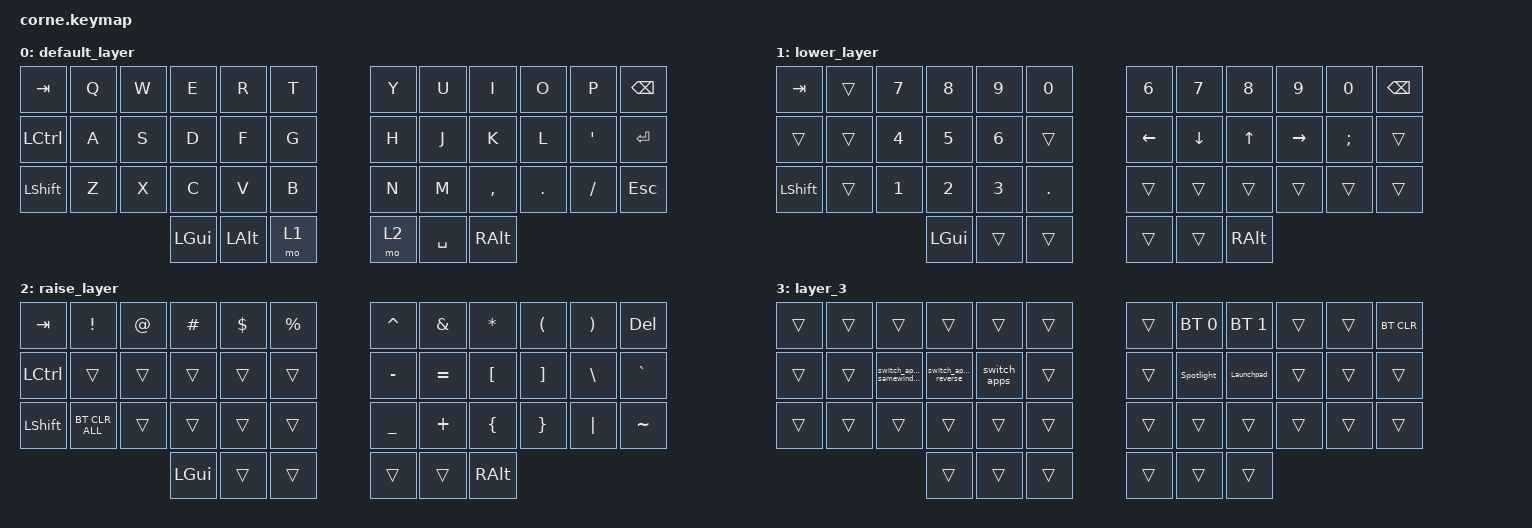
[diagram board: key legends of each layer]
/*
 * Copyright (c) 2020 The ZMK Contributors
 *
 * SPDX-License-Identifier: MIT
 */

#include <behaviors.dtsi>
#include <dt-bindings/zmk/bt.h>
#include <dt-bindings/zmk/keys.h>

/ {
    macros {
        Spotlight: Spotlight {
            compatible = "zmk,behavior-macro";
            #binding-cells = <0>;
            bindings = <&kp RG(SPACE)>;
            label = "SPOTLIGHT";
        };

        Launchpad: Launchpad {
            compatible = "zmk,behavior-macro";
            #binding-cells = <0>;
            bindings = <&kp LC(TAB)>;
            label = "LAUNCHPAD";
        };

        switch_apps: switch_apps {
            compatible = "zmk,behavior-macro";
            #binding-cells = <0>;
            bindings = <&kp RG(TAB)>;
            label = "SWITCH_APPS";
        };

        switch_apps_reverse: switch_apps_reverse {
            compatible = "zmk,behavior-macro";
            #binding-cells = <0>;
            bindings = <&kp RG(TAB)>;
            label = "SWITCH_APPS_REVERSE";
        };

        switch_apps_samewindow: switch_apps_samewindow {
            compatible = "zmk,behavior-macro";
            #binding-cells = <0>;
            bindings = <&kp RG(GRAVE)>;
            label = "SWITCH_APPS_SAMEWINDOW";
        };
    };

    keymap {
        compatible = "zmk,keymap";

        default_layer {
            // -----------------------------------------------------------------------------------------
            // |  TAB |  Q  |  W  |  E  |  R  |  T  |   |  Y  |  U   |  I  |  O  |  P  | BKSP |
            // | CTRL |  A  |  S  |  D  |  F  |  G  |   |  H  |  J   |  K  |  L  |  ;  | ENT  |
            // | SHFT |  Z  |  X  |  C  |  V  |  B  |   |  N  |  M   |  ,  |  .  |  /  | ESC  |
            //                    | GUI | SPC | LWR |   | RSE | SPC  | ALT |

            bindings = <
&kp TAB    &kp Q  &kp W  &kp E     &kp R         &kp T    &kp Y  &kp U      &kp I      &kp O    &kp P             &kp BSPC
&kp LCTRL  &kp A  &kp S  &kp D     &kp F         &kp G    &kp H  &kp J      &kp K      &kp L    &kp SINGLE_QUOTE  &kp RET
&kp LSHFT  &kp Z  &kp X  &kp C     &kp V         &kp B    &kp N  &kp M      &kp COMMA  &kp DOT  &kp FSLH          &kp ESC
                         &kp LGUI  &kp LEFT_ALT  &mo 1    &mo 2  &kp SPACE  &kp RALT
            >;
        };

        lower_layer {
            // -----------------------------------------------------------------------------------------
            // |  TAB |     |  7  |  8  |  9  |  0  |   |     |     |     |     |     | BKSP |
            // |      |     |  4  |  5  |  6  |     |   | LFT | DWN |  UP | RGT |     |      |
            // | SHFT |     |  1  |  2  |  3  |  .  |   |     |     |     |     |     |      |
            //                    | GUI |     | SPC |   | ENT |     | ALT |

            bindings = <
&kp TAB    &trans  &kp N7  &kp N8    &kp N9  &kp N0     &kp N6    &kp N7    &kp N8    &kp N9     &kp N0         &kp BSPC
&trans     &trans  &kp N4  &kp N5    &kp N6  &trans     &kp LEFT  &kp DOWN  &kp UP    &kp RIGHT  &kp SEMICOLON  &trans
&kp LSHFT  &trans  &kp N1  &kp N2    &kp N3  &kp DOT    &trans    &trans    &trans    &trans     &trans         &trans
                           &kp LGUI  &trans  &trans     &trans    &trans    &kp RALT
            >;
        };

        raise_layer {
            // -----------------------------------------------------------------------------------------
            // |  TAB |  !  |  @  |  #  |  $  |  %  |   |  ^  |  &  |  *  |  (  |  )  | BKSP |
            // | CTRL |     |     |     |     |     |   |  -  |  =  |  [  |  ]  |  \  |  `   |
            // | SHFT |BTCLRALL|     |     |     |     |   |  _  |  +  |  {  |  }  | "|" |  ~   |
            //                    | GUI |     | SPC |   | ENT |     | ALT |

            bindings = <
&kp TAB    &kp EXCL        &kp AT  &kp HASH  &kp DLLR  &kp PRCNT    &kp CARET  &kp AMPS   &kp ASTRK  &kp LPAR  &kp RPAR  &kp DELETE
&kp LCTRL  &trans          &trans  &trans    &trans    &trans       &kp MINUS  &kp EQUAL  &kp LBKT   &kp RBKT  &kp BSLH  &kp GRAVE
&kp LSHFT  &bt BT_CLR_ALL  &trans  &trans    &trans    &trans       &kp UNDER  &kp PLUS   &kp LBRC   &kp RBRC  &kp PIPE  &kp TILDE
                                   &kp LGUI  &trans    &trans       &trans     &trans     &kp RALT
            >;
        };

        layer_3 {
            bindings = <
&trans  &trans  &trans                   &trans                &trans        &trans    &trans  &bt BT_SEL 0  &bt BT_SEL 1  &trans  &trans  &bt BT_CLR
&trans  &trans  &switch_apps_samewindow  &switch_apps_reverse  &switch_apps  &trans    &trans  &Spotlight    &Launchpad    &trans  &trans  &trans
&trans  &trans  &trans                   &trans                &trans        &trans    &trans  &trans        &trans        &trans  &trans  &trans
                                         &trans                &trans        &trans    &trans  &trans        &trans
            >;
        };
    };

    conditional_layers {
        compatible = "zmk,conditional-layers";

        both {
            if-layers = <1 2>;
            then-layer = <3>;
        };
    };
};
